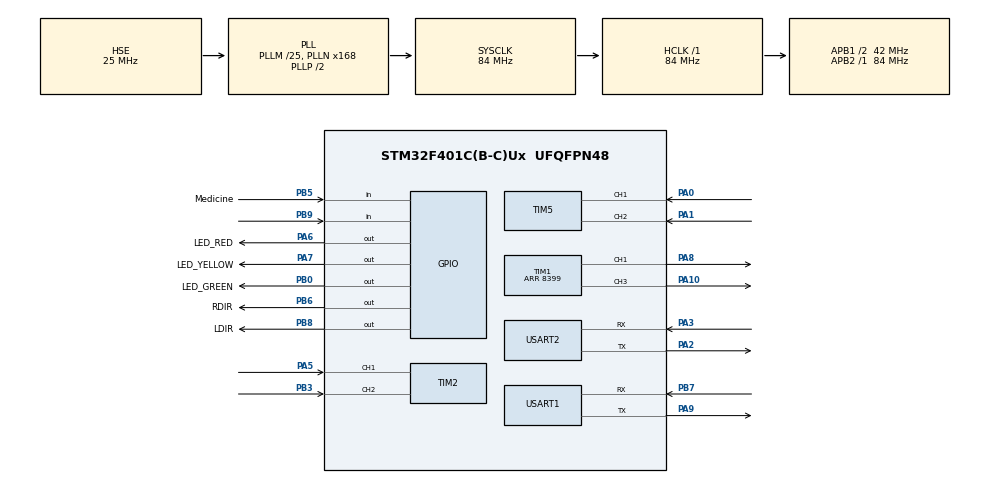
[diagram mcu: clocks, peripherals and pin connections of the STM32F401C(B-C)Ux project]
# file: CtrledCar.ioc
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Mcu.Family=STM32F4
Mcu.Name=STM32F401C(B-C)Ux
Mcu.Package=UFQFPN48
NVIC.PriorityGroup=NVIC_PRIORITYGROUP_4
NVIC.TIM3_IRQn=true\:3\:0\:true\:false\:true\:true\:true
NVIC.USART1_IRQn=true\:2\:0\:true\:false\:true\:true\:true
NVIC.USART2_IRQn=true\:1\:0\:true\:false\:true\:true\:true
PA0-WKUP.Signal=S_TIM5_CH1
PA1.Signal=S_TIM5_CH2
PA10.Signal=S_TIM1_CH3
PA2.Mode=Asynchronous
PA2.Signal=USART2_TX
PA3.Mode=Asynchronous
PA3.Signal=USART2_RX
PA5.Signal=S_TIM2_CH1_ETR
PA6.GPIO_Label=LED_RED
PA6.Signal=GPIO_Output
PA7.GPIO_Label=LED_YELLOW
PA7.Signal=GPIO_Output
PA8.Signal=S_TIM1_CH1
PA9.Mode=Asynchronous
PA9.Signal=USART1_TX
PB0.GPIO_Label=LED_GREEN
PB0.Signal=GPIO_Output
PB3.Signal=S_TIM2_CH2
PB5.GPIO_Label=Medicine
PB5.GPIO_PuPd=GPIO_PULLUP
PB5.Signal=GPIO_Input
PB6.GPIO_Label=RDIR
PB6.Signal=GPIO_Output
PB7.Mode=Asynchronous
PB7.Signal=USART1_RX
PB8.GPIO_Label=LDIR
PB8.Signal=GPIO_Output
PB9.GPIO_PuPd=GPIO_PULLDOWN
PB9.Signal=GPIO_Input
PH0\ -\ OSC_IN.Mode=HSE-External-Oscillator
PH0\ -\ OSC_IN.Signal=RCC_OSC_IN
PH1\ -\ OSC_OUT.Mode=HSE-External-Oscillator
PH1\ -\ OSC_OUT.Signal=RCC_OSC_OUT
ProjectManager.HeapSize=0x200
ProjectManager.StackSize=0x400
ProjectManager.TargetToolchain=STM32CubeIDE
RCC.48MHZClocksFreq_Value=42000000
RCC.AHBFreq_Value=84000000
RCC.APB1CLKDivider=RCC_HCLK_DIV2
RCC.APB1Freq_Value=42000000
RCC.APB1TimFreq_Value=84000000
RCC.APB2Freq_Value=84000000
RCC.APB2TimFreq_Value=84000000
RCC.CortexFreq_Value=84000000
RCC.HCLKFreq_Value=84000000
RCC.HSE_VALUE=25000000
RCC.HSI_VALUE=16000000
RCC.LSE_VALUE=32768
RCC.PLLM=25
RCC.PLLN=168
RCC.PLLSourceVirtual=RCC_PLLSOURCE_HSE
RCC.SYSCLKFreq_VALUE=84000000
RCC.SYSCLKSource=RCC_SYSCLKSOURCE_PLLCLK
RCC.VCOOutputFreq_Value=168000000
SH.S_TIM1_CH1.0=TIM1_CH1,PWM Generation1 CH1
SH.S_TIM1_CH3.0=TIM1_CH3,PWM Generation3 CH3
SH.S_TIM2_CH1_ETR.0=TIM2_CH1,Encoder_Interface
SH.S_TIM2_CH2.0=TIM2_CH2,Encoder_Interface
SH.S_TIM5_CH1.0=TIM5_CH1,Encoder_Interface
SH.S_TIM5_CH2.0=TIM5_CH2,Encoder_Interface
TIM1.Channel-PWM\ Generation1\ CH1=TIM_CHANNEL_1
TIM1.Channel-PWM\ Generation3\ CH3=TIM_CHANNEL_3
TIM1.Period=8399
TIM3.Period=999
TIM3.Prescaler=83
USART1.VirtualMode=VM_ASYNC
USART2.VirtualMode=VM_ASYNC
VP_TIM1_VS_ClockSourceINT.Mode=Internal
VP_TIM3_VS_ClockSourceINT.Mode=Internal
board=custom

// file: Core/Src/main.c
/* USER CODE BEGIN Header */
/**
  ******************************************************************************
  * @file           : main.c
  * @brief          : Main program body
  ******************************************************************************
  * @attention
  *
  * <h2><center>&copy; Copyright (c) 2021 STMicroelectronics.
  * All rights reserved.</center></h2>
  *
  * This software component is licensed by ST under BSD 3-Clause license,
  * the "License"; You may not use this file except in compliance with the
  * License. You may obtain a copy of the License at:
  *                        opensource.org/licenses/BSD-3-Clause
  *
  ******************************************************************************
  */
/* USER CODE END Header */
#include "main.h"
#include "tim.h"
#include "usart.h"
#include "gpio.h"

/* USER CODE BEGIN Includes */
#include "Debug.h"
#include "user.h"
#include "timepiece.h"
/* USER CODE END Includes */

/* USER CODE BEGIN PV */
uint8_t data, command, crossHistroy, crossCNT = 0;
extern pid leftspd, rightspd, dir;
extern uint8_t mainState, subState, Tflag, delayFlag1, delayPreFlag1, delayFlag2, turnFlag, delayPreFlag2, dottedFlag, getCross, getT, forceTurn, crossState, dataFrame;
extern double shadowDirOut, basicLeftSpd, basicRightSpd;

task_t tasks[] = {
        {0, 10, TaskHandlerDeclare(PIDControl),  0},
        {1, 2,  TaskHandlerDeclare(StateDetect), 0},
        {2, 10, TaskHandlerDeclare(LogOutput),   0},
        {3, 2,  TaskHandlerDeclare(CrossDelay),  0}
};
/* USER CODE END PV */

void SystemClock_Config(void);

int main(void) {

    /* MCU Configuration--------------------------------------------------------*/

    /* Reset of all peripherals, Initializes the Flash interface and the Systick. */
    HAL_Init();

    /* Configure the system clock */
    SystemClock_Config();

    /* Initialize all configured peripherals */
    MX_GPIO_Init();
    MX_TIM3_Init();
    MX_USART1_UART_Init();
    MX_USART2_UART_Init();
    MX_TIM2_Init();
    MX_TIM5_Init();
    MX_TIM1_Init();
    /* USER CODE BEGIN 2 */
    HAL_TIM_Base_Start_IT(&htim3);
    SetInterruptPeriod(1);
    TaskRegister_List(tasks, 4);

    HAL_TIM_PWM_Start(&htim1, TIM_CHANNEL_1);
    HAL_TIM_PWM_Start(&htim1, TIM_CHANNEL_3);
    HAL_TIM_Encoder_Start(&htim5, TIM_CHANNEL_1);
    HAL_TIM_Encoder_Start(&htim5, TIM_CHANNEL_2);
    HAL_TIM_Encoder_Start(&htim2, TIM_CHANNEL_1);
    HAL_TIM_Encoder_Start(&htim2, TIM_CHANNEL_2);
    HAL_UART_Receive_IT(&huart1, &data, sizeof(data));
    HAL_UART_Receive_IT(&huart2, &command, sizeof(command));

    PID_Init(&leftspd, 170, 25, 0, 0);  //170 25 0 173max
    PID_Init(&rightspd, 170, 25, 0, 0); //170 25 0 173max
    PID_Init(&dir, 0.3, 0, 0, 0);

    //Debug
    mainState = STATE_MedicineRoom;
    subState = GetMedicine_TurnAround;
    /* USER CODE END 2 */

    /* Infinite loop */
    /* USER CODE BEGIN WHILE */
    while (1) {
        //State
        switch (mainState) {
            case STATE_Debug:                   //调试状�??
                ForceTurn_Start;
                Set_Speed(MAXSpeed, MAXSpeed);
                LED_ON(0);
                ForceTurn(DIR_RIGHT);
                Set_Speed(0, 0);
                ForceTurn_Start;
                HAL_Delay(500);
                ForceTurn(DIR_LEFT);
                Set_Speed(0, 0);
                ForceTurn_Start;
                HAL_Delay(500);
                break;

            case STATE_MedicineRoom:            //药房�???????????
                //prosessor
                LED_ON(LED_GREEN);
                Set_Speed(0, 0);

                //state change
                if (Get_MedicineState() == MedicineExist) {
                    Set_Speed(MAXSpeed, MAXSpeed);
                    mainState = STATE_GoToWaitingPoint;
                }
                break;
            case STATE_GoToWaitingPoint:
                //prosessor
                LED_ON(0);

                //state change
                if (getT) {
                    ForceTurn_Start;
                    CalibrationDelay(60000);
                    mainState = STATE_Waiting;
                }
                break;
            case STATE_Waiting:
                //prosessor
                LED_ON(LED_YELLOW);
                Set_Speed(0, 0);

                //state change
                if (command == 'p') {
                    ForceTurn(DIR_BACK);
                    ForceTurn_Start;
                    Set_Speed(0, 0);
                    HAL_Delay(100);
                    ForceTurn_Stop;
                    mainState = STATE_TransportMedicine;
                }
                break;
            case STATE_TransportMedicine:       //送药�???????????
                // prosessor
                LED_ON(0);
                Set_Speed(MAXSpeed, MAXSpeed);
                if (getCross) {
                    CalibrationDelay(CrossCnt);
                    ForceTurn(crossHistroy & 1 ? DIR_RIGHT : DIR_LEFT);
                    ForceTurn_Start;
                }

                //state change
                if (dottedFlag) {
                    CalibrationDelay(DottedCnt);
                    mainState = STATE_PacientRoom;
                }
                break;
            case STATE_PacientRoom:             //病房�???????????
                //prosessor
                LED_ON(LED_RED);
                ForceTurn_Start;
                Set_Speed(0, 0);

                //state change
                if (Get_MedicineState() == MedicineNone) {
                    ForceTurn_Stop;
                    mainState = STATE_GetMedicineMiddle;
                }
                break;
            case STATE_GetMedicineMiddle:             //取药�???????????
                //prosessor
                LED_ON(0);

                //subState
                switch (subState) {
                    case GetMedicine_TurnAround:
                        //prosessor
                        ForceTurn(DIR_BACK);
                        Set_Speed(0, 0);
                        HAL_Delay(100);
                        Set_Speed(MAXSpeed, MAXSpeed);

                        //state change
                        subState = GetMedicine_Turn;
                        break;
                    case GetMedicine_Turn:
                        //prosessor
                        if (getCross) {
                            CalibrationDelay(CrossCnt);
                            ForceTurn(crossHistroy & 1 ? DIR_RIGHT : DIR_LEFT);

                            //state change
                            subState = GetMedicine_Go;
                        }

                        break;
                    case GetMedicine_Go:
                        //prosessor
                        Set_Speed(MAXSpeed, MAXSpeed);

                        //state change
                        break;
                    default:;
                }

                //state change
                if (dottedFlag) {
                    CalibrationDelay(DottedCnt);
                    mainState = STATE_MedicineRoom;
                }
                break;
            case STATE_GetMedicineFar:
                //prosessor

                //subState
                switch (subState) {
                    case GetMedicine_TurnAround:
                        //prosessor
                        ForceTurn(DIR_BACK);
                        Set_Speed(0, 0);
                        ForceTurn_Start;
                        HAL_Delay(100);
                        Set_Speed(MAXSpeed, MAXSpeed);

                        //state change
                        subState = GetMedicine_Turn;
                        break;
                    case GetMedicine_Turn:
                        //prosessor
                        CalibrationDelay(BackCnt);

                        ForceTurn(crossHistroy & 1 ? DIR_RIGHT : DIR_LEFT);

                        //state change
                        subState = GetMedicine_TurnBig;
                        break;
                    case GetMedicine_TurnBig:
                        //prosessor
                        Set_Speed(MAXSpeed, MAXSpeed);

                        //state change
                        if (getCross) {
                            CalibrationDelay(CrossCnt);
                            ForceTurn(crossHistroy & 1 << 1 ? DIR_RIGHT : DIR_LEFT);
                            subState = GetMedicine_Go;
                        }
                        break;
                    case GetMedicine_Go:
                        //prosessor
                        Set_Speed(MAXSpeed, MAXSpeed);

                        //state change
                        break;
                    default:;
                }

                //state change
                if (dottedFlag) {
                    CalibrationDelay(DottedCnt);
                    mainState = STATE_MedicineRoom;
                }
                break;
            default:;
        }
        /* USER CODE END WHILE */

    }
}

void SystemClock_Config(void) {
    RCC_OscInitTypeDef RCC_OscInitStruct = {0};
    RCC_ClkInitTypeDef RCC_ClkInitStruct = {0};

    /** Configure the main internal regulator output voltage
    */
    __HAL_RCC_PWR_CLK_ENABLE();
    __HAL_PWR_VOLTAGESCALING_CONFIG(PWR_REGULATOR_VOLTAGE_SCALE2);
    /** Initializes the RCC Oscillators according to the specified parameters
    * in the RCC_OscInitTypeDef structure.
    */
    RCC_OscInitStruct.OscillatorType = RCC_OSCILLATORTYPE_HSE;
    RCC_OscInitStruct.HSEState = RCC_HSE_ON;
    RCC_OscInitStruct.PLL.PLLState = RCC_PLL_ON;
    RCC_OscInitStruct.PLL.PLLSource = RCC_PLLSOURCE_HSE;
    RCC_OscInitStruct.PLL.PLLM = 25;
    RCC_OscInitStruct.PLL.PLLN = 168;
    RCC_OscInitStruct.PLL.PLLP = RCC_PLLP_DIV2;
    RCC_OscInitStruct.PLL.PLLQ = 4;
    if (HAL_RCC_OscConfig(&RCC_OscInitStruct) != HAL_OK) {
        Error_Handler();
    }
    /** Initializes the CPU, AHB and APB buses clocks
    */
    RCC_ClkInitStruct.ClockType = RCC_CLOCKTYPE_HCLK | RCC_CLOCKTYPE_SYSCLK
                                  | RCC_CLOCKTYPE_PCLK1 | RCC_CLOCKTYPE_PCLK2;
    RCC_ClkInitStruct.SYSCLKSource = RCC_SYSCLKSOURCE_PLLCLK;
    RCC_ClkInitStruct.AHBCLKDivider = RCC_SYSCLK_DIV1;
    RCC_ClkInitStruct.APB1CLKDivider = RCC_HCLK_DIV2;
    RCC_ClkInitStruct.APB2CLKDivider = RCC_HCLK_DIV1;

    if (HAL_RCC_ClockConfig(&RCC_ClkInitStruct, FLASH_LATENCY_2) != HAL_OK) {
        Error_Handler();
    }
}

void Error_Handler(void) {
    __disable_irq();
    while (1) {
    }
}

/************************ (C) COPYRIGHT STMicroelectronics *****END OF FILE****/
